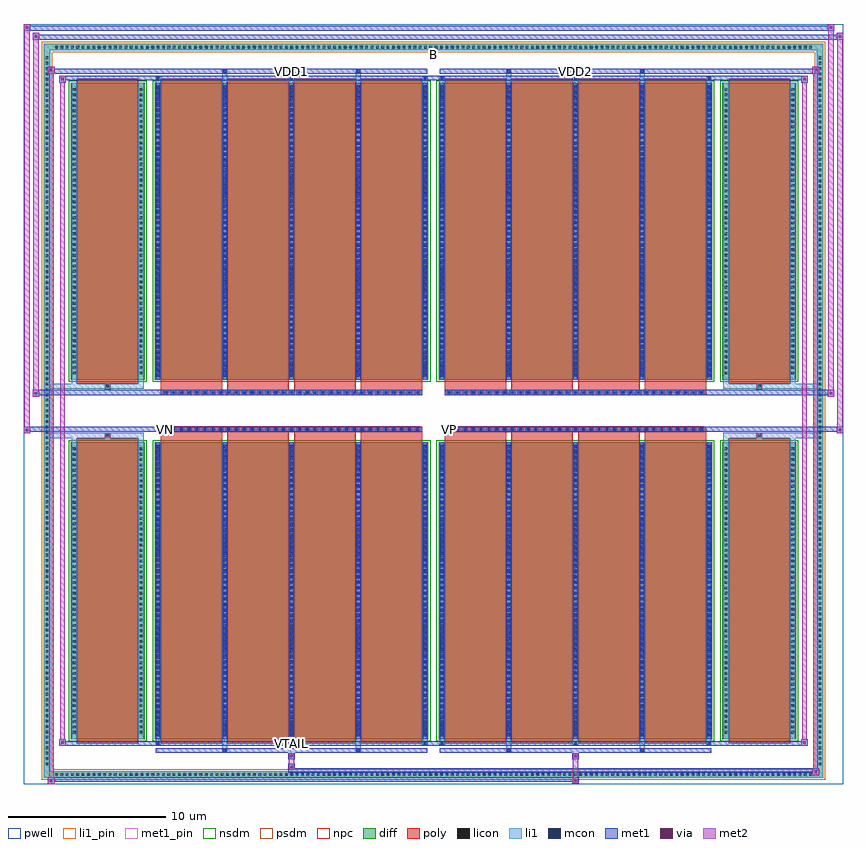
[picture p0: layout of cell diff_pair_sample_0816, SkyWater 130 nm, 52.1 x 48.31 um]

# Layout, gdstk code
import gdstk
lib = gdstk.Library(unit=1e-6, precision=5e-09)
def R(c, l, rs):  # rectangles x0, y0, x1, y1
    for r in rs: c.add(gdstk.rectangle(r[:2], r[2:], *l))
def A(c, l, x, y, w, h, nx, ny, dx, dy):  # array of equal rectangles
    R(c, l, [(x+i*dx, y+j*dy, x+i*dx+w, y+j*dy+h) for i in range(nx) for j in range(ny)])
def P(c, l, *ps):  # polygons
    for p in ps: c.add(gdstk.Polygon(p, *l))
pwell = (64, 44)
diff = (65, 20)
poly = (66, 20)
licon = (66, 44)
li1_pin = (67, 16)
li1 = (67, 20)
mcon = (67, 44)
met1_pin = (68, 16)
met1 = (68, 20)
via = (68, 44)
met2 = (69, 20)
nsdm = (93, 44)
psdm = (94, 20)
npc = (95, 20)

diff_pair_sample_0816 = lib.new_cell('diff_pair_sample_0816')
R(diff_pair_sample_0816, pwell, [(-26.05,-23.72,26.05,24.59), (-23.37,-21.91,-0.01,-0.805), (0.01,-21.91,23.37,-0.805), (-23.37,0.805,-0.01,21.91), (0.01,0.805,23.37,21.91)])
A(diff_pair_sample_0816, diff, -24.175, -23.32, 0.41, 0.41, 142, 2, 0.34, 46.23)
A(diff_pair_sample_0816, diff, -24.78, -22.645, 0.41, 0.41, 1, 133, 0, 0.34)
A(diff_pair_sample_0816, diff, 24.37, -22.645, 0.41, 0.41, 1, 133, 0, 0.34)
R(diff_pair_sample_0816, diff, [(-24.175,-23.32,24.175,-22.91), (-24.78,-22.645,-24.37,22.645), (24.37,-22.645,24.78,22.645), (-23.06,-20.865,-18.37,-1.985), (-17.73,-20.865,-0.32,-1.985), (0.32,-20.865,17.73,-1.985), (18.37,-20.865,23.06,-1.985), (-23.06,1.985,-18.37,20.865), (-17.73,1.985,-0.32,20.865), (0.32,1.985,17.73,20.865), (18.37,1.985,23.06,20.865), (-24.175,22.91,24.175,23.32)])
P(diff_pair_sample_0816, diff, [(24.78,23.32),(-24.78,23.32),(-24.78,-22.91),(-24.37,-22.91),(-24.37,22.91),(24.37,22.91),(24.37,-22.91),(-24.37,-22.91),(-24.78,-22.91),(-24.78,-23.32),(24.78,-23.32)])
A(diff_pair_sample_0816, poly, -17.34, -21.115, 3.91, 19.38, 4, 2, 4.24, 22.85)
A(diff_pair_sample_0816, poly, 0.71, -21.115, 3.91, 19.38, 4, 2, 4.24, 22.85)
A(diff_pair_sample_0816, poly, -17.34, -1.735, 3.91, 0.4, 4, 2, 4.24, 3.07)
A(diff_pair_sample_0816, poly, 0.71, -1.735, 3.91, 0.4, 4, 2, 4.24, 3.07)
A(diff_pair_sample_0816, poly, -17.19, -1.335, 0.33, 0.33, 33, 2, 0.5, 2.34)
A(diff_pair_sample_0816, poly, 0.86, -1.335, 0.33, 0.33, 33, 2, 0.5, 2.34)
R(diff_pair_sample_0816, poly, [(-22.67,-21.115,-18.76,-1.735), (18.76,-21.115,22.67,-1.735), (-20.88,-1.735,-20.55,-1.405), (-20.88,-1.735,-20.55,-1.405), (20.55,-1.735,20.88,-1.405), (20.55,-1.735,20.88,-1.405), (-17.34,-1.335,-0.71,-1.005), (0.71,-1.335,17.34,-1.005), (-17.34,1.005,-0.71,1.335), (0.71,1.005,17.34,1.335), (-20.88,1.405,-20.55,1.735), (-20.88,1.405,-20.55,1.735), (20.55,1.405,20.88,1.735), (20.55,1.405,20.88,1.735), (-22.67,1.735,-18.76,21.115), (18.76,1.735,22.67,21.115)])
A(diff_pair_sample_0816, licon, -24.055, -23.2, 0.17, 0.17, 142, 2, 0.34, 46.23)
A(diff_pair_sample_0816, licon, -24.66, -22.525, 0.17, 0.17, 1, 133, 0, 0.34)
A(diff_pair_sample_0816, licon, 24.49, -22.525, 0.17, 0.17, 1, 133, 0, 0.34)
A(diff_pair_sample_0816, licon, -22.92, -20.52, 0.17, 0.17, 1, 54, 0, 0.34)
A(diff_pair_sample_0816, licon, -18.68, -20.52, 0.17, 0.17, 1, 54, 0, 0.34)
A(diff_pair_sample_0816, licon, -17.59, -20.52, 0.17, 0.17, 5, 54, 4.24, 0.34)
A(diff_pair_sample_0816, licon, 0.46, -20.52, 0.17, 0.17, 5, 54, 4.24, 0.34)
A(diff_pair_sample_0816, licon, 18.51, -20.52, 0.17, 0.17, 1, 54, 0, 0.34)
A(diff_pair_sample_0816, licon, 22.75, -20.52, 0.17, 0.17, 1, 54, 0, 0.34)
A(diff_pair_sample_0816, licon, -17.11, -1.255, 0.17, 0.17, 33, 2, 0.5, 2.34)
A(diff_pair_sample_0816, licon, 0.94, -1.255, 0.17, 0.17, 33, 2, 0.5, 2.34)
A(diff_pair_sample_0816, licon, -22.92, 2.33, 0.17, 0.17, 1, 54, 0, 0.34)
A(diff_pair_sample_0816, licon, -18.68, 2.33, 0.17, 0.17, 1, 54, 0, 0.34)
A(diff_pair_sample_0816, licon, -17.59, 2.33, 0.17, 0.17, 5, 54, 4.24, 0.34)
A(diff_pair_sample_0816, licon, 0.46, 2.33, 0.17, 0.17, 5, 54, 4.24, 0.34)
A(diff_pair_sample_0816, licon, 18.51, 2.33, 0.17, 0.17, 1, 54, 0, 0.34)
A(diff_pair_sample_0816, licon, 22.75, 2.33, 0.17, 0.17, 1, 54, 0, 0.34)
R(diff_pair_sample_0816, licon, [(-20.8,-1.655,-20.63,-1.485), (20.63,-1.655,20.8,-1.485), (-20.8,1.485,-20.63,1.655), (20.63,1.485,20.8,1.655)])
R(diff_pair_sample_0816, li1_pin, [(-0.25,22.41,0.25,22.91)])
A(diff_pair_sample_0816, li1, -24.135, -23.28, 0.33, 0.33, 142, 2, 0.34, 46.23)
A(diff_pair_sample_0816, li1, -24.74, -22.605, 0.33, 0.33, 1, 133, 0, 0.34)
A(diff_pair_sample_0816, li1, 24.41, -22.605, 0.33, 0.33, 1, 133, 0, 0.34)
A(diff_pair_sample_0816, li1, -17.67, -21.24, 0.33, 0.375, 3, 2, 8.48, 42.105)
A(diff_pair_sample_0816, li1, -17.59, -21.24, 0.17, 0.17, 3, 2, 8.48, 42.31)
A(diff_pair_sample_0816, li1, 0.38, -21.24, 0.33, 0.375, 3, 2, 8.48, 42.105)
A(diff_pair_sample_0816, li1, 0.46, -21.24, 0.17, 0.17, 3, 2, 8.48, 42.31)
A(diff_pair_sample_0816, li1, -17.67, -20.865, 0.33, 18.88, 5, 2, 4.24, 22.85)
A(diff_pair_sample_0816, li1, 0.38, -20.865, 0.33, 18.88, 5, 2, 4.24, 22.85)
A(diff_pair_sample_0816, li1, -17.59, -20.69, 0.17, 0.17, 5, 52, 4.24, 0.36)
A(diff_pair_sample_0816, li1, -17.59, -20.69, 0.17, 18.53, 5, 2, 4.24, 22.85)
A(diff_pair_sample_0816, li1, 0.46, -20.69, 0.17, 0.17, 5, 52, 4.24, 0.36)
A(diff_pair_sample_0816, li1, 0.46, -20.69, 0.17, 18.53, 5, 2, 4.24, 22.85)
A(diff_pair_sample_0816, li1, -23, -20.6, 0.33, 0.33, 1, 54, 0, 0.34)
A(diff_pair_sample_0816, li1, -18.76, -20.6, 0.33, 0.33, 1, 54, 0, 0.34)
A(diff_pair_sample_0816, li1, -17.67, -20.6, 0.33, 0.33, 5, 54, 4.24, 0.34)
A(diff_pair_sample_0816, li1, 0.38, -20.6, 0.33, 0.33, 5, 54, 4.24, 0.34)
A(diff_pair_sample_0816, li1, 18.43, -20.6, 0.33, 0.33, 1, 54, 0, 0.34)
A(diff_pair_sample_0816, li1, 22.67, -20.6, 0.33, 0.33, 1, 54, 0, 0.34)
A(diff_pair_sample_0816, li1, -17.19, -1.335, 0.33, 0.33, 33, 2, 0.5, 2.34)
A(diff_pair_sample_0816, li1, 0.86, -1.335, 0.33, 0.33, 33, 2, 0.5, 2.34)
A(diff_pair_sample_0816, li1, -17.59, 2.16, 0.17, 0.17, 5, 52, 4.24, 0.36)
A(diff_pair_sample_0816, li1, 0.46, 2.16, 0.17, 0.17, 5, 52, 4.24, 0.36)
A(diff_pair_sample_0816, li1, -23, 2.25, 0.33, 0.33, 1, 54, 0, 0.34)
A(diff_pair_sample_0816, li1, -18.76, 2.25, 0.33, 0.33, 1, 54, 0, 0.34)
A(diff_pair_sample_0816, li1, -17.67, 2.25, 0.33, 0.33, 5, 54, 4.24, 0.34)
A(diff_pair_sample_0816, li1, 0.38, 2.25, 0.33, 0.33, 5, 54, 4.24, 0.34)
A(diff_pair_sample_0816, li1, 18.43, 2.25, 0.33, 0.33, 1, 54, 0, 0.34)
A(diff_pair_sample_0816, li1, 22.67, 2.25, 0.33, 0.33, 1, 54, 0, 0.34)
R(diff_pair_sample_0816, li1, [(-24.78,-23.32,-24.37,-22.91), (-24.78,-23.32,-24.37,-22.91), (-24.37,-23.32,24.37,-22.91), (24.37,-23.32,24.78,-22.91), (24.37,-23.32,24.78,-22.91), (-24.78,-22.91,-24.37,22.91), (24.37,-22.91,24.78,22.91), (-13.43,-21.67,-13.1,-20.865), (-13.35,-21.67,-13.18,-21.5), (-4.95,-21.67,-4.62,-20.865), (-4.87,-21.67,-4.7,-21.5), (4.62,-21.67,4.95,-20.865), (4.7,-21.67,4.87,-21.5), (13.1,-21.67,13.43,-20.865), (13.18,-21.67,13.35,-21.5), (-23,-20.865,-22.67,-1.985), (-18.76,-20.865,-18.43,-1.985), (18.43,-20.865,18.76,-1.985), (22.67,-20.865,23,-1.985), (-23,-1.985,-22.67,-1.405), (-18.76,-1.985,-18.43,-1.405), (18.43,-1.985,18.76,-1.405), (22.67,-1.985,23,-1.405), (-24.78,-1.735,-20.88,-1.405), (-23,-1.735,-20.88,-1.405), (-20.88,-1.735,-20.55,-1.405), (-20.55,-1.735,-18.43,-1.405), (18.43,-1.735,20.55,-1.405), (20.55,-1.735,20.88,-1.405), (20.55,-1.735,24.78,-1.405), (20.88,-1.735,23,-1.405), (-24.78,1.405,-20.88,1.735), (-23,1.405,-20.88,1.735), (-23,1.405,-22.67,1.985), (-20.88,1.405,-20.55,1.735), (-20.55,1.405,-18.43,1.735), (-18.76,1.405,-18.43,1.985), (18.43,1.405,20.55,1.735), (18.43,1.405,18.76,1.985), (20.55,1.405,20.88,1.735), (20.55,1.405,24.78,1.735), (20.88,1.405,23,1.735), (22.67,1.405,23,1.985), (-23,1.985,-22.67,20.865), (-18.76,1.985,-18.43,20.865), (18.43,1.985,18.76,20.865), (22.67,1.985,23,20.865), (-13.43,20.865,-13.1,21.67), (-4.95,20.865,-4.62,21.67), (4.62,20.865,4.95,21.67), (13.1,20.865,13.43,21.67), (-13.35,21.5,-13.18,21.67), (-4.87,21.5,-4.7,21.67), (4.7,21.5,4.87,21.67), (13.18,21.5,13.35,21.67), (-24.78,22.91,-24.37,23.32), (-24.78,22.91,-24.37,23.32), (-24.37,22.91,24.37,23.32), (24.37,22.91,24.78,23.32), (24.37,22.91,24.78,23.32)])
A(diff_pair_sample_0816, mcon, -17.59, -21.24, 0.17, 0.17, 3, 2, 8.48, 42.31)
A(diff_pair_sample_0816, mcon, 0.46, -21.24, 0.17, 0.17, 3, 2, 8.48, 42.31)
A(diff_pair_sample_0816, mcon, -17.59, -20.69, 0.17, 0.17, 5, 52, 4.24, 0.36)
A(diff_pair_sample_0816, mcon, 0.46, -20.69, 0.17, 0.17, 5, 52, 4.24, 0.36)
A(diff_pair_sample_0816, mcon, -17.11, -1.255, 0.17, 0.17, 33, 2, 0.5, 2.34)
A(diff_pair_sample_0816, mcon, 0.94, -1.255, 0.17, 0.17, 33, 2, 0.5, 2.34)
A(diff_pair_sample_0816, mcon, -17.59, 2.16, 0.17, 0.17, 5, 52, 4.24, 0.36)
A(diff_pair_sample_0816, mcon, 0.46, 2.16, 0.17, 0.17, 5, 52, 4.24, 0.36)
R(diff_pair_sample_0816, mcon, [(-13.35,-21.67,-13.18,-21.5), (-4.87,-21.67,-4.7,-21.5), (4.7,-21.67,4.87,-21.5), (13.18,-21.67,13.35,-21.5), (-13.35,21.5,-13.18,21.67), (-4.87,21.5,-4.7,21.67), (4.7,21.5,4.87,21.67), (13.18,21.5,13.35,21.67)])
R(diff_pair_sample_0816, met1_pin, [(-9.16,-21.28,-8.89,-21.01), (-17.16,-1.295,-16.89,-1.025), (0.89,-1.295,1.16,-1.025), (-9.16,21.46,-8.89,21.73), (8.89,21.46,9.16,21.73)])
A(diff_pair_sample_0816, met1, -17.65, -21.3, 0.29, 0.29, 3, 2, 8.48, 42.31)
A(diff_pair_sample_0816, met1, 0.4, -21.3, 0.29, 0.29, 3, 2, 8.48, 42.31)
A(diff_pair_sample_0816, met1, -17.65, -20.865, 0.29, 18.88, 5, 2, 4.24, 22.85)
A(diff_pair_sample_0816, met1, 0.4, -20.865, 0.29, 18.88, 5, 2, 4.24, 22.85)
A(diff_pair_sample_0816, met1, -17.65, -20.75, 0.29, 0.29, 5, 52, 4.24, 0.36)
A(diff_pair_sample_0816, met1, 0.4, -20.75, 0.29, 0.29, 5, 52, 4.24, 0.36)
A(diff_pair_sample_0816, met1, -17.17, -1.315, 0.29, 0.29, 33, 2, 0.5, 2.34)
A(diff_pair_sample_0816, met1, 0.88, -1.315, 0.29, 0.29, 33, 2, 0.5, 2.34)
A(diff_pair_sample_0816, met1, -17.65, 2.1, 0.29, 0.29, 5, 52, 4.24, 0.36)
A(diff_pair_sample_0816, met1, 0.4, 2.1, 0.29, 0.29, 5, 52, 4.24, 0.36)
R(diff_pair_sample_0816, met1, [(-24.51,-23.72,-24.08,-23.29), (8.81,-23.72,9.24,-23.29), (-24.51,-23.58,9.24,-23.29), (24.08,-23.15,24.51,-22.72), (-9.24,-23.01,24.51,-22.72), (-9.24,-22.87,-8.81,-22.44), (-9.24,-22.16,-8.81,-21.73), (8.81,-22.16,9.24,-21.73), (-17.65,-21.73,-0.4,-21.44), (-13.41,-21.73,-13.12,-21.44), (-4.93,-21.73,-4.64,-21.44), (0.4,-21.73,17.65,-21.44), (4.64,-21.73,4.93,-21.44), (13.12,-21.73,13.41,-21.44), (-23.8,-21.3,-23.37,-20.87), (-23.8,-21.3,-17.65,-21.01), (-17.65,-21.3,-0.4,-21.01), (-0.4,-21.3,0.4,-21.01), (0.4,-21.3,17.65,-21.01), (17.65,-21.3,23.8,-21.01), (23.37,-21.3,23.8,-20.87), (-26.05,-1.435,-25.62,-1.005), (25.62,-1.435,26.05,-1.005), (-26.05,-1.335,-0.71,-1.005), (-17.34,-1.335,-0.71,-1.005), (0.71,-1.335,17.34,-1.005), (0.71,-1.335,26.05,-1.005), (-25.48,0.905,-25.05,1.335), (25.05,0.905,25.48,1.335), (-25.48,1.005,-17.34,1.335), (-17.34,1.005,-0.71,1.335), (0.71,1.005,17.34,1.335), (17.34,1.005,25.48,1.335), (-23.8,20.87,-23.37,21.3), (23.37,20.87,23.8,21.3), (-23.8,21.01,-17.65,21.3), (-17.65,21.01,-0.4,21.3), (-0.4,21.01,0.4,21.3), (0.4,21.01,17.65,21.3), (17.65,21.01,23.8,21.3), (-24.51,21.44,-24.08,21.87), (-24.51,21.44,-17.65,21.73), (-17.65,21.44,-0.4,21.73), (-13.41,21.44,-13.12,21.73), (-4.93,21.44,-4.64,21.73), (0.4,21.44,17.65,21.73), (4.64,21.44,4.93,21.73), (13.12,21.44,13.41,21.73), (17.65,21.44,24.51,21.73), (24.08,21.44,24.51,21.87), (-25.48,23.59,-25.05,24.02), (-25.48,23.59,-23.37,23.92), (-23.37,23.59,23.37,23.92), (23.37,23.59,26.05,23.92), (25.62,23.59,26.05,24.02), (-26.05,24.16,-25.62,24.59), (-26.05,24.16,-23.37,24.49), (-23.37,24.16,23.37,24.49), (23.37,24.16,25.48,24.49), (25.05,24.16,25.48,24.59)])
R(diff_pair_sample_0816, via, [(-24.37,-23.58,-24.22,-23.43), (8.95,-23.58,9.1,-23.43), (24.22,-23.01,24.37,-22.86), (-9.1,-22.73,-8.95,-22.58), (-9.1,-22.02,-8.95,-21.87), (8.95,-22.02,9.1,-21.87), (-23.66,-21.16,-23.51,-21.01), (23.51,-21.16,23.66,-21.01), (-25.91,-1.295,-25.76,-1.145), (25.76,-1.295,25.91,-1.145), (-25.34,1.045,-25.19,1.195), (25.19,1.045,25.34,1.195), (-23.66,21.01,-23.51,21.16), (23.51,21.01,23.66,21.16), (-24.37,21.58,-24.22,21.73), (24.22,21.58,24.37,21.73), (-25.34,23.73,-25.19,23.88), (25.76,23.73,25.91,23.88), (-25.91,24.3,-25.76,24.45), (25.19,24.3,25.34,24.45)])
R(diff_pair_sample_0816, met2, [(-24.51,-23.72,-24.08,-23.29), (-24.44,-23.72,-24.15,21.87), (-24.15,-23.72,-24.08,-23.29), (-24.46,-23.67,-24.13,-23.34), (8.86,-23.67,9.19,-23.34), (8.86,-23.34,9.19,-22.11), (24.08,-23.15,24.51,-22.72), (24.15,-23.15,24.44,21.87), (24.44,-23.15,24.51,-22.72), (24.13,-23.1,24.46,-22.77), (-9.19,-22.82,-8.86,-22.49), (-9.19,-22.49,-8.86,-22.11), (-9.19,-22.11,-8.86,-21.78), (8.86,-22.11,9.19,-21.78), (-23.8,-21.3,-23.37,-20.87), (-23.73,-21.3,-23.44,21.3), (-23.44,-21.3,-23.37,-20.87), (23.37,-21.3,23.8,-20.87), (23.44,-21.3,23.73,21.3), (23.73,-21.3,23.8,-20.87), (-23.75,-21.25,-23.42,-20.92), (23.42,-21.25,23.75,-20.92), (-26.05,-1.435,-25.62,-1.005), (-26,-1.435,-25.67,24.59), (-25.67,-1.435,-25.62,-1.005), (25.62,-1.435,26.05,-1.005), (25.67,-1.435,26,24.02), (26,-1.435,26.05,-1.005), (-26,-1.385,-25.67,-1.055), (25.67,-1.385,26,-1.055), (-25.48,0.905,-25.05,1.335), (-25.43,0.905,-25.1,24.02), (-25.1,0.905,-25.05,1.335), (25.05,0.905,25.48,1.335), (25.1,0.905,25.43,24.59), (25.43,0.905,25.48,1.335), (-25.43,0.955,-25.1,1.285), (25.1,0.955,25.43,1.285), (-23.8,20.87,-23.37,21.3), (-23.44,20.87,-23.37,21.3), (23.37,20.87,23.8,21.3), (23.73,20.87,23.8,21.3), (-23.75,20.92,-23.42,21.25), (23.42,20.92,23.75,21.25), (-24.51,21.44,-24.08,21.87), (-24.15,21.44,-24.08,21.87), (24.08,21.44,24.51,21.87), (24.44,21.44,24.51,21.87), (-24.46,21.49,-24.13,21.82), (24.13,21.49,24.46,21.82), (-25.48,23.59,-25.05,24.02), (-25.1,23.59,-25.05,24.02), (25.62,23.59,26.05,24.02), (26,23.59,26.05,24.02), (-25.43,23.64,-25.1,23.97), (25.67,23.64,26,23.97), (-26.05,24.16,-25.62,24.59), (-25.67,24.16,-25.62,24.59), (25.05,24.16,25.48,24.59), (25.43,24.16,25.48,24.59), (-26,24.21,-25.67,24.54), (25.1,24.21,25.43,24.54)])
R(diff_pair_sample_0816, nsdm, [(-23.19,-20.995,-18.24,-1.855), (-17.86,-20.995,-0.19,-1.855), (0.19,-20.995,17.86,-1.855), (18.24,-20.995,23.19,-1.855), (-23.19,1.855,-18.24,20.995), (-17.86,1.855,-0.19,20.995), (0.19,1.855,17.86,20.995), (18.24,1.855,23.19,20.995)])
P(diff_pair_sample_0816, psdm, [(24.91,23.45),(-24.91,23.45),(-24.91,-22.78),(-24.24,-22.78),(-24.24,22.78),(24.24,22.78),(24.24,-22.78),(-24.24,-22.78),(-24.91,-22.78),(-24.91,-23.45),(24.91,-23.45)])
A(diff_pair_sample_0816, npc, -17.21, -1.355, 0.37, 0.37, 33, 2, 0.5, 2.34)
A(diff_pair_sample_0816, npc, 0.84, -1.355, 0.37, 0.37, 33, 2, 0.5, 2.34)
R(diff_pair_sample_0816, npc, [(-20.9,-1.755,-20.53,-1.385), (20.53,-1.755,20.9,-1.385), (-17.21,-1.355,-16.34,-0.985), (-17.21,-1.355,-16.34,-0.985), (-16.71,-1.355,-15.84,-0.985), (-16.71,-1.355,-15.84,-0.985), (-16.21,-1.355,-15.34,-0.985), (-16.21,-1.355,-15.34,-0.985), (-15.71,-1.355,-14.84,-0.985), (-15.71,-1.355,-14.84,-0.985), (-15.21,-1.355,-14.34,-0.985), (-15.21,-1.355,-14.34,-0.985), (-14.71,-1.355,-13.84,-0.985), (-14.71,-1.355,-13.84,-0.985), (-14.21,-1.355,-13.34,-0.985), (-14.21,-1.355,-13.34,-0.985), (-13.71,-1.355,-12.84,-0.985), (-13.71,-1.355,-12.84,-0.985), (-13.21,-1.355,-12.34,-0.985), (-13.21,-1.355,-12.34,-0.985), (-12.71,-1.355,-11.84,-0.985), (-12.71,-1.355,-11.84,-0.985), (-12.21,-1.355,-11.34,-0.985), (-12.21,-1.355,-11.34,-0.985), (-11.71,-1.355,-10.84,-0.985), (-11.71,-1.355,-10.84,-0.985), (-11.21,-1.355,-10.34,-0.985), (-11.21,-1.355,-10.34,-0.985), (-10.71,-1.355,-9.84,-0.985), (-10.71,-1.355,-9.84,-0.985), (-10.21,-1.355,-9.34,-0.985), (-10.21,-1.355,-9.34,-0.985), (-9.71,-1.355,-8.84,-0.985), (-9.71,-1.355,-8.84,-0.985), (-9.21,-1.355,-8.34,-0.985), (-9.21,-1.355,-8.34,-0.985), (-8.71,-1.355,-7.84,-0.985), (-8.71,-1.355,-7.84,-0.985), (-8.21,-1.355,-7.34,-0.985), (-8.21,-1.355,-7.34,-0.985), (-7.71,-1.355,-6.84,-0.985), (-7.71,-1.355,-6.84,-0.985), (-7.21,-1.355,-6.34,-0.985), (-7.21,-1.355,-6.34,-0.985), (-6.71,-1.355,-5.84,-0.985), (-6.71,-1.355,-5.84,-0.985), (-6.21,-1.355,-5.34,-0.985), (-6.21,-1.355,-5.34,-0.985), (-5.71,-1.355,-4.84,-0.985), (-5.71,-1.355,-4.84,-0.985), (-5.21,-1.355,-4.34,-0.985), (-5.21,-1.355,-4.34,-0.985), (-4.71,-1.355,-3.84,-0.985), (-4.71,-1.355,-3.84,-0.985), (-4.21,-1.355,-3.34,-0.985), (-4.21,-1.355,-3.34,-0.985), (-3.71,-1.355,-2.84,-0.985), (-3.71,-1.355,-2.84,-0.985), (-3.21,-1.355,-2.34,-0.985), (-3.21,-1.355,-2.34,-0.985), (-2.71,-1.355,-1.84,-0.985), (-2.71,-1.355,-1.84,-0.985), (-2.21,-1.355,-1.34,-0.985), (-2.21,-1.355,-1.34,-0.985), (-1.71,-1.355,-0.84,-0.985), (-1.71,-1.355,-0.84,-0.985), (0.84,-1.355,1.71,-0.985), (0.84,-1.355,1.71,-0.985), (1.34,-1.355,2.21,-0.985), (1.34,-1.355,2.21,-0.985), (1.84,-1.355,2.71,-0.985), (1.84,-1.355,2.71,-0.985), (2.34,-1.355,3.21,-0.985), (2.34,-1.355,3.21,-0.985), (2.84,-1.355,3.71,-0.985), (2.84,-1.355,3.71,-0.985), (3.34,-1.355,4.21,-0.985), (3.34,-1.355,4.21,-0.985), (3.84,-1.355,4.71,-0.985), (3.84,-1.355,4.71,-0.985), (4.34,-1.355,5.21,-0.985), (4.34,-1.355,5.21,-0.985), (4.84,-1.355,5.71,-0.985), (4.84,-1.355,5.71,-0.985), (5.34,-1.355,6.21,-0.985), (5.34,-1.355,6.21,-0.985), (5.84,-1.355,6.71,-0.985), (5.84,-1.355,6.71,-0.985), (6.34,-1.355,7.21,-0.985), (6.34,-1.355,7.21,-0.985), (6.84,-1.355,7.71,-0.985), (6.84,-1.355,7.71,-0.985), (7.34,-1.355,8.21,-0.985), (7.34,-1.355,8.21,-0.985), (7.84,-1.355,8.71,-0.985), (7.84,-1.355,8.71,-0.985), (8.34,-1.355,9.21,-0.985), (8.34,-1.355,9.21,-0.985), (8.84,-1.355,9.71,-0.985), (8.84,-1.355,9.71,-0.985), (9.34,-1.355,10.21,-0.985), (9.34,-1.355,10.21,-0.985), (9.84,-1.355,10.71,-0.985), (9.84,-1.355,10.71,-0.985), (10.34,-1.355,11.21,-0.985), (10.34,-1.355,11.21,-0.985), (10.84,-1.355,11.71,-0.985), (10.84,-1.355,11.71,-0.985), (11.34,-1.355,12.21,-0.985), (11.34,-1.355,12.21,-0.985), (11.84,-1.355,12.71,-0.985), (11.84,-1.355,12.71,-0.985), (12.34,-1.355,13.21,-0.985), (12.34,-1.355,13.21,-0.985), (12.84,-1.355,13.71,-0.985), (12.84,-1.355,13.71,-0.985), (13.34,-1.355,14.21,-0.985), (13.34,-1.355,14.21,-0.985), (13.84,-1.355,14.71,-0.985), (13.84,-1.355,14.71,-0.985), (14.34,-1.355,15.21,-0.985), (14.34,-1.355,15.21,-0.985), (14.84,-1.355,15.71,-0.985), (14.84,-1.355,15.71,-0.985), (15.34,-1.355,16.21,-0.985), (15.34,-1.355,16.21,-0.985), (15.84,-1.355,16.71,-0.985), (15.84,-1.355,16.71,-0.985), (16.34,-1.355,17.21,-0.985), (16.34,-1.355,17.21,-0.985), (-17.21,0.985,-16.34,1.355), (-17.21,0.985,-16.34,1.355), (-16.71,0.985,-15.84,1.355), (-16.71,0.985,-15.84,1.355), (-16.21,0.985,-15.34,1.355), (-16.21,0.985,-15.34,1.355), (-15.71,0.985,-14.84,1.355), (-15.71,0.985,-14.84,1.355), (-15.21,0.985,-14.34,1.355), (-15.21,0.985,-14.34,1.355), (-14.71,0.985,-13.84,1.355), (-14.71,0.985,-13.84,1.355), (-14.21,0.985,-13.34,1.355), (-14.21,0.985,-13.34,1.355), (-13.71,0.985,-12.84,1.355), (-13.71,0.985,-12.84,1.355), (-13.21,0.985,-12.34,1.355), (-13.21,0.985,-12.34,1.355), (-12.71,0.985,-11.84,1.355), (-12.71,0.985,-11.84,1.355), (-12.21,0.985,-11.34,1.355), (-12.21,0.985,-11.34,1.355), (-11.71,0.985,-10.84,1.355), (-11.71,0.985,-10.84,1.355), (-11.21,0.985,-10.34,1.355), (-11.21,0.985,-10.34,1.355), (-10.71,0.985,-9.84,1.355), (-10.71,0.985,-9.84,1.355), (-10.21,0.985,-9.34,1.355), (-10.21,0.985,-9.34,1.355), (-9.71,0.985,-8.84,1.355), (-9.71,0.985,-8.84,1.355), (-9.21,0.985,-8.34,1.355), (-9.21,0.985,-8.34,1.355), (-8.71,0.985,-7.84,1.355), (-8.71,0.985,-7.84,1.355), (-8.21,0.985,-7.34,1.355), (-8.21,0.985,-7.34,1.355), (-7.71,0.985,-6.84,1.355), (-7.71,0.985,-6.84,1.355), (-7.21,0.985,-6.34,1.355), (-7.21,0.985,-6.34,1.355), (-6.71,0.985,-5.84,1.355), (-6.71,0.985,-5.84,1.355), (-6.21,0.985,-5.34,1.355), (-6.21,0.985,-5.34,1.355), (-5.71,0.985,-4.84,1.355), (-5.71,0.985,-4.84,1.355), (-5.21,0.985,-4.34,1.355), (-5.21,0.985,-4.34,1.355), (-4.71,0.985,-3.84,1.355), (-4.71,0.985,-3.84,1.355), (-4.21,0.985,-3.34,1.355), (-4.21,0.985,-3.34,1.355), (-3.71,0.985,-2.84,1.355), (-3.71,0.985,-2.84,1.355), (-3.21,0.985,-2.34,1.355), (-3.21,0.985,-2.34,1.355), (-2.71,0.985,-1.84,1.355), (-2.71,0.985,-1.84,1.355), (-2.21,0.985,-1.34,1.355), (-2.21,0.985,-1.34,1.355), (-1.71,0.985,-0.84,1.355), (-1.71,0.985,-0.84,1.355), (0.84,0.985,1.71,1.355), (0.84,0.985,1.71,1.355), (1.34,0.985,2.21,1.355), (1.34,0.985,2.21,1.355), (1.84,0.985,2.71,1.355), (1.84,0.985,2.71,1.355), (2.34,0.985,3.21,1.355), (2.34,0.985,3.21,1.355), (2.84,0.985,3.71,1.355), (2.84,0.985,3.71,1.355), (3.34,0.985,4.21,1.355), (3.34,0.985,4.21,1.355), (3.84,0.985,4.71,1.355), (3.84,0.985,4.71,1.355), (4.34,0.985,5.21,1.355), (4.34,0.985,5.21,1.355), (4.84,0.985,5.71,1.355), (4.84,0.985,5.71,1.355), (5.34,0.985,6.21,1.355), (5.34,0.985,6.21,1.355), (5.84,0.985,6.71,1.355), (5.84,0.985,6.71,1.355), (6.34,0.985,7.21,1.355), (6.34,0.985,7.21,1.355), (6.84,0.985,7.71,1.355), (6.84,0.985,7.71,1.355), (7.34,0.985,8.21,1.355), (7.34,0.985,8.21,1.355), (7.84,0.985,8.71,1.355), (7.84,0.985,8.71,1.355), (8.34,0.985,9.21,1.355), (8.34,0.985,9.21,1.355), (8.84,0.985,9.71,1.355), (8.84,0.985,9.71,1.355), (9.34,0.985,10.21,1.355), (9.34,0.985,10.21,1.355), (9.84,0.985,10.71,1.355), (9.84,0.985,10.71,1.355), (10.34,0.985,11.21,1.355), (10.34,0.985,11.21,1.355), (10.84,0.985,11.71,1.355), (10.84,0.985,11.71,1.355), (11.34,0.985,12.21,1.355), (11.34,0.985,12.21,1.355), (11.84,0.985,12.71,1.355), (11.84,0.985,12.71,1.355), (12.34,0.985,13.21,1.355), (12.34,0.985,13.21,1.355), (12.84,0.985,13.71,1.355), (12.84,0.985,13.71,1.355), (13.34,0.985,14.21,1.355), (13.34,0.985,14.21,1.355), (13.84,0.985,14.71,1.355), (13.84,0.985,14.71,1.355), (14.34,0.985,15.21,1.355), (14.34,0.985,15.21,1.355), (14.84,0.985,15.71,1.355), (14.84,0.985,15.71,1.355), (15.34,0.985,16.21,1.355), (15.34,0.985,16.21,1.355), (15.84,0.985,16.71,1.355), (15.84,0.985,16.71,1.355), (16.34,0.985,17.21,1.355), (16.34,0.985,17.21,1.355), (-20.9,1.385,-20.53,1.755), (20.53,1.385,20.9,1.755)])
diff_pair_sample_0816.add(gdstk.Label('VTAIL', (-9.025,-21.145), layer=68, texttype=5))
diff_pair_sample_0816.add(gdstk.Label('VN', (-17.025,-1.16), layer=68, texttype=5))
diff_pair_sample_0816.add(gdstk.Label('VP', (1.025,-1.16), layer=68, texttype=5))
diff_pair_sample_0816.add(gdstk.Label('B', (0,22.66), layer=67, texttype=5))
diff_pair_sample_0816.add(gdstk.Label('VDD2', (9.025,21.595), layer=68, texttype=5))
diff_pair_sample_0816.add(gdstk.Label('VDD1', (-9.025,21.595), layer=68, texttype=5))

lib.write_gds('diff_pair_sample_0816.gds')
